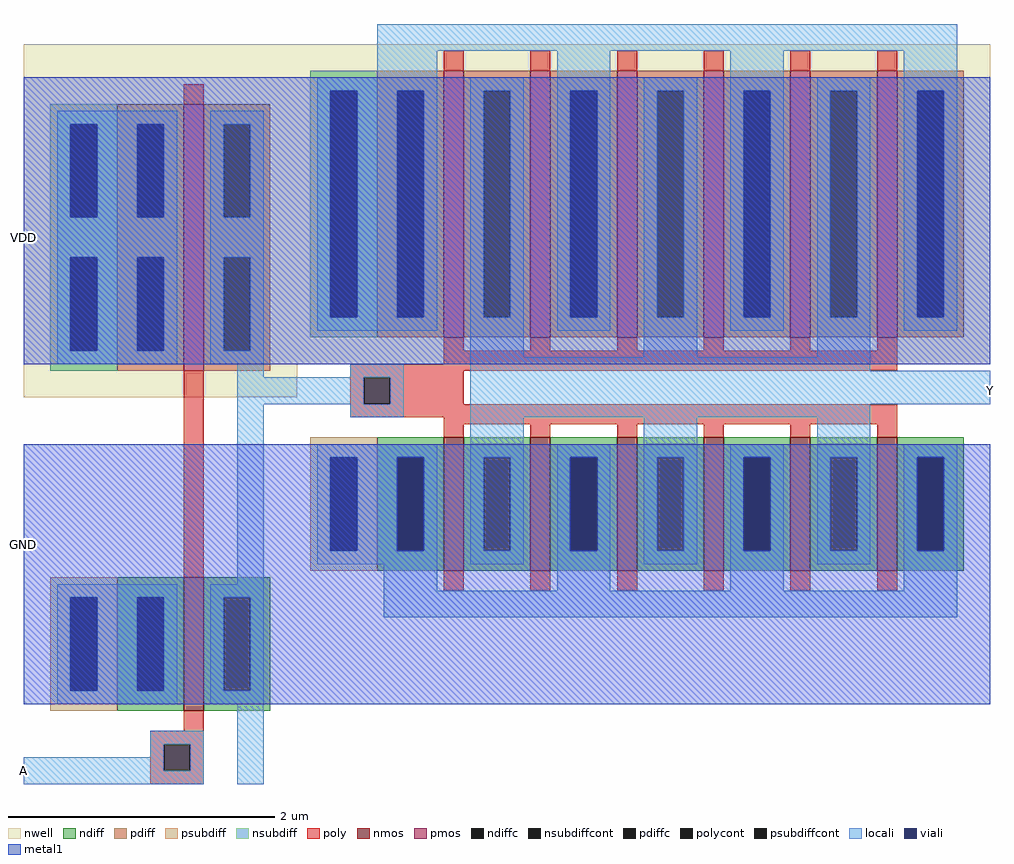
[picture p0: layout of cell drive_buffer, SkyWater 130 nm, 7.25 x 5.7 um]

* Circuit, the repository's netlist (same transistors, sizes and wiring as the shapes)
**.subckt drive_buffer_lvs vout
*.opin vout
XM25 net1 net2 VDD VDD sky130_fd_pr__pfet_01v8 L=0.15 W=2 nf=1 ad='int((nf+1)/2) * W/nf * 0.29' as='int((nf+2)/2) * W/nf * 0.29'
+ pd='2*int((nf+1)/2) * (W/nf + 0.29)' ps='2*int((nf+2)/2) * (W/nf + 0.29)' nrd='0.29 / W' nrs='0.29 / W'
+ sa=0 sb=0 sd=0 mult=1 m=1 
XM26 net1 net2 GND GND sky130_fd_pr__nfet_01v8 L=0.15 W=1 nf=1 ad='int((nf+1)/2) * W/nf * 0.29' as='int((nf+2)/2) * W/nf * 0.29'
+ pd='2*int((nf+1)/2) * (W/nf + 0.29)' ps='2*int((nf+2)/2) * (W/nf + 0.29)' nrd='0.29 / W' nrs='0.29 / W'
+ sa=0 sb=0 sd=0 mult=1 m=1 
XM27 vout net1 VDD VDD sky130_fd_pr__pfet_01v8 L=0.15 W=12 nf=1 ad='int((nf+1)/2) * W/nf * 0.29' as='int((nf+2)/2) * W/nf * 0.29'
+ pd='2*int((nf+1)/2) * (W/nf + 0.29)' ps='2*int((nf+2)/2) * (W/nf + 0.29)' nrd='0.29 / W' nrs='0.29 / W'
+ sa=0 sb=0 sd=0 mult=1 m=1 
XM28 vout net1 GND GND sky130_fd_pr__nfet_01v8 L=0.15 W=6 nf=1 ad='int((nf+1)/2) * W/nf * 0.29' as='int((nf+2)/2) * W/nf * 0.29'
+ pd='2*int((nf+1)/2) * (W/nf + 0.29)' ps='2*int((nf+2)/2) * (W/nf + 0.29)' nrd='0.29 / W' nrs='0.29 / W'
+ sa=0 sb=0 sd=0 mult=1 m=1 
**.ends
.GLOBAL VDD
.GLOBAL GND
** flattened .save nodes
.end

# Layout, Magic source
magic
tech sky130A
<< nwell >>
rect 0 525 260 555
rect 200 315 260 525
<< locali >>
rect 180 285 205 305
rect 0 0 100 20
<< metal1 >>
rect 0 315 725 530
rect 0 60 270 255
use inverter_large  inverter_large_0 ~/Documents/MADVLSI-Final_Project/layout
transform 1 0 315 0 1 160
box -120 -100 410 410
use inverter  inverter_0 ~/Documents/MADVLSI-Final_Project/layout
transform 1 0 120 0 1 -80
box -120 80 85 610
<< labels >>
rlabel locali 0 10 0 10 7 A
rlabel metal1 0 180 0 180 7 GND
rlabel metal1 0 410 0 410 7 VDD
rlabel space 725 295 725 295 3 Y
<< end >>

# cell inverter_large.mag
magic
tech sky130A
<< nwell >>
rect -120 155 410 395
<< nmos >>
rect 0 0 15 100
rect 65 0 80 100
rect 130 0 145 100
rect 195 0 210 100
rect 260 0 275 100
rect 325 0 340 100
<< pmos >>
rect 0 175 15 375
rect 65 175 80 375
rect 130 175 145 375
rect 195 175 210 375
rect 260 175 275 375
rect 325 175 340 375
<< ndiff >>
rect -50 85 0 100
rect -50 15 -35 85
rect -15 15 0 85
rect -50 0 0 15
rect 15 85 65 100
rect 15 15 30 85
rect 50 15 65 85
rect 15 0 65 15
rect 80 85 130 100
rect 80 15 95 85
rect 115 15 130 85
rect 80 0 130 15
rect 145 85 195 100
rect 145 15 160 85
rect 180 15 195 85
rect 145 0 195 15
rect 210 85 260 100
rect 210 15 225 85
rect 245 15 260 85
rect 210 0 260 15
rect 275 85 325 100
rect 275 15 290 85
rect 310 15 325 85
rect 275 0 325 15
rect 340 85 390 100
rect 340 15 355 85
rect 375 15 390 85
rect 340 0 390 15
<< pdiff >>
rect -50 360 0 375
rect -50 190 -35 360
rect -15 190 0 360
rect -50 175 0 190
rect 15 360 65 375
rect 15 190 30 360
rect 50 190 65 360
rect 15 175 65 190
rect 80 360 130 375
rect 80 190 95 360
rect 115 190 130 360
rect 80 175 130 190
rect 145 360 195 375
rect 145 190 160 360
rect 180 190 195 360
rect 145 175 195 190
rect 210 360 260 375
rect 210 190 225 360
rect 245 190 260 360
rect 210 175 260 190
rect 275 360 325 375
rect 275 190 290 360
rect 310 190 325 360
rect 275 175 325 190
rect 340 360 390 375
rect 340 190 355 360
rect 375 190 390 360
rect 340 175 390 190
<< ndiffc >>
rect -35 15 -15 85
rect 30 15 50 85
rect 95 15 115 85
rect 160 15 180 85
rect 225 15 245 85
rect 290 15 310 85
rect 355 15 375 85
<< pdiffc >>
rect -35 190 -15 360
rect 30 190 50 360
rect 95 190 115 360
rect 160 190 180 360
rect 225 190 245 360
rect 290 190 310 360
rect 355 190 375 360
<< psubdiff >>
rect -100 85 -50 100
rect -100 15 -85 85
rect -65 15 -50 85
rect -100 0 -50 15
<< nsubdiff >>
rect -100 360 -50 375
rect -100 190 -85 360
rect -65 190 -50 360
rect -100 175 -50 190
<< psubdiffcont >>
rect -85 15 -65 85
<< nsubdiffcont >>
rect -85 190 -65 360
<< poly >>
rect 0 375 15 390
rect 65 375 80 390
rect 130 375 145 390
rect 195 375 210 390
rect 260 375 275 390
rect 325 375 340 390
rect 0 165 15 175
rect 65 165 80 175
rect 130 165 145 175
rect 195 165 210 175
rect 260 165 275 175
rect 325 165 340 175
rect 0 155 340 165
rect -70 150 340 155
rect -70 145 15 150
rect -70 125 -60 145
rect -40 125 15 145
rect -70 115 340 125
rect 0 110 340 115
rect 0 100 15 110
rect 65 100 80 110
rect 130 100 145 110
rect 195 100 210 110
rect 260 100 275 110
rect 325 100 340 110
rect 0 -15 15 0
rect 65 -15 80 0
rect 130 -15 145 0
rect 195 -15 210 0
rect 260 -15 275 0
rect 325 -15 340 0
<< polycont >>
rect -60 125 -40 145
<< locali >>
rect -50 390 385 410
rect -50 370 -5 390
rect -95 360 -5 370
rect -95 190 -85 360
rect -65 190 -35 360
rect -15 190 -5 360
rect -95 180 -5 190
rect 20 360 60 370
rect 20 190 30 360
rect 50 190 60 360
rect 20 160 60 190
rect 85 360 125 390
rect 85 190 95 360
rect 115 190 125 360
rect 85 180 125 190
rect 150 360 190 370
rect 150 190 160 360
rect 180 190 190 360
rect 150 160 190 190
rect 215 360 255 390
rect 215 190 225 360
rect 245 190 255 360
rect 215 180 255 190
rect 280 360 320 370
rect 280 190 290 360
rect 310 190 320 360
rect 280 160 320 190
rect 345 360 385 390
rect 345 190 355 360
rect 375 190 385 360
rect 345 180 385 190
rect -70 145 -30 155
rect -120 125 -60 145
rect -40 125 -30 145
rect -70 115 -30 125
rect 20 150 320 160
rect 20 125 410 150
rect 20 115 320 125
rect -95 85 -5 95
rect -95 15 -85 85
rect -65 15 -35 85
rect -15 15 -5 85
rect -95 5 -5 15
rect 20 85 60 115
rect 20 15 30 85
rect 50 15 60 85
rect 20 5 60 15
rect 85 85 125 95
rect 85 15 95 85
rect 115 15 125 85
rect -45 -15 -5 5
rect 85 -15 125 15
rect 150 85 190 115
rect 150 15 160 85
rect 180 15 190 85
rect 150 5 190 15
rect 215 85 255 95
rect 215 15 225 85
rect 245 15 255 85
rect 215 -15 255 15
rect 280 85 320 115
rect 280 15 290 85
rect 310 15 320 85
rect 280 5 320 15
rect 345 85 385 95
rect 345 15 355 85
rect 375 15 385 85
rect 345 -15 385 15
rect -45 -35 385 -15
<< viali >>
rect -85 190 -65 360
rect -35 190 -15 360
rect 95 190 115 360
rect 225 190 245 360
rect 355 190 375 360
rect -85 15 -65 85
rect -35 15 -15 85
rect 95 15 115 85
rect 225 15 245 85
rect 355 15 375 85
<< metal1 >>
rect -120 360 410 370
rect -120 190 -85 360
rect -65 190 -35 360
rect -15 190 95 360
rect 115 190 225 360
rect 245 190 355 360
rect 375 190 410 360
rect -120 180 410 190
rect -120 85 410 95
rect -120 15 -85 85
rect -65 15 -35 85
rect -15 15 95 85
rect 115 15 225 85
rect 245 15 355 85
rect 375 15 410 85
rect -120 -100 410 15
<< labels >>
rlabel metal1 -120 275 -120 275 7 VDD
port 1 w
rlabel metal1 -120 -15 -120 -15 7 GND
port 2 w
rlabel locali -120 135 -120 135 7 A
port 3 w
rlabel locali 410 140 410 140 3 Y
port 4 e
<< end >>

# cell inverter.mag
magic
tech sky130A
<< nwell >>
rect -120 370 85 610
<< nmos >>
rect 0 135 15 235
<< pmos >>
rect 0 390 15 590
<< ndiff >>
rect -50 220 0 235
rect -50 150 -35 220
rect -15 150 0 220
rect -50 135 0 150
rect 15 220 65 235
rect 15 150 30 220
rect 50 150 65 220
rect 15 135 65 150
<< pdiff >>
rect -50 575 0 590
rect -50 505 -35 575
rect -15 505 0 575
rect -50 475 0 505
rect -50 405 -35 475
rect -15 405 0 475
rect -50 390 0 405
rect 15 575 65 590
rect 15 505 30 575
rect 50 505 65 575
rect 15 475 65 505
rect 15 405 30 475
rect 50 405 65 475
rect 15 390 65 405
<< ndiffc >>
rect -35 150 -15 220
rect 30 150 50 220
<< pdiffc >>
rect -35 505 -15 575
rect -35 405 -15 475
rect 30 505 50 575
rect 30 405 50 475
<< psubdiff >>
rect -100 220 -50 235
rect -100 150 -85 220
rect -65 150 -50 220
rect -100 135 -50 150
<< nsubdiff >>
rect -100 575 -50 590
rect -100 505 -85 575
rect -65 505 -50 575
rect -100 475 -50 505
rect -100 405 -85 475
rect -65 405 -50 475
rect -100 390 -50 405
<< psubdiffcont >>
rect -85 150 -65 220
<< nsubdiffcont >>
rect -85 505 -65 575
rect -85 405 -65 475
<< poly >>
rect 0 590 15 605
rect 0 235 15 390
rect 0 120 15 135
rect -25 110 15 120
rect -25 90 -15 110
rect 5 90 15 110
rect -25 80 15 90
<< polycont >>
rect -15 90 5 110
<< locali >>
rect -95 575 -5 585
rect -95 505 -85 575
rect -65 505 -35 575
rect -15 505 -5 575
rect -95 475 -5 505
rect -95 405 -85 475
rect -65 405 -35 475
rect -15 405 -5 475
rect -95 395 -5 405
rect 20 575 60 585
rect 20 505 30 575
rect 50 505 60 575
rect 20 475 60 505
rect 20 405 30 475
rect 50 405 60 475
rect 20 395 60 405
rect 40 230 60 395
rect -95 220 -5 230
rect -95 150 -85 220
rect -65 150 -35 220
rect -15 150 -5 220
rect -95 140 -5 150
rect 20 220 60 230
rect 20 150 30 220
rect 50 150 60 220
rect 20 140 60 150
rect -25 110 15 120
rect -25 90 -15 110
rect 5 90 15 110
rect -25 80 15 90
rect 40 80 60 140
<< viali >>
rect -85 505 -65 575
rect -35 505 -15 575
rect -85 405 -65 475
rect -35 405 -15 475
rect -85 150 -65 220
rect -35 150 -15 220
<< metal1 >>
rect -120 575 85 585
rect -120 505 -85 575
rect -65 505 -35 575
rect -15 505 85 575
rect -120 475 85 505
rect -120 405 -85 475
rect -65 405 -35 475
rect -15 405 85 475
rect -120 395 85 405
rect -120 220 85 330
rect -120 150 -85 220
rect -65 150 -35 220
rect -15 150 85 220
rect -120 140 85 150
<< labels >>
rlabel metal1 -120 235 -120 235 7 VN
port 4 w
rlabel locali -25 100 -25 100 7 A
port 1 w
rlabel locali 60 90 60 90 3 Y
port 2 e
rlabel metal1 -120 490 -120 490 7 VP
port 3 w
<< end >>
